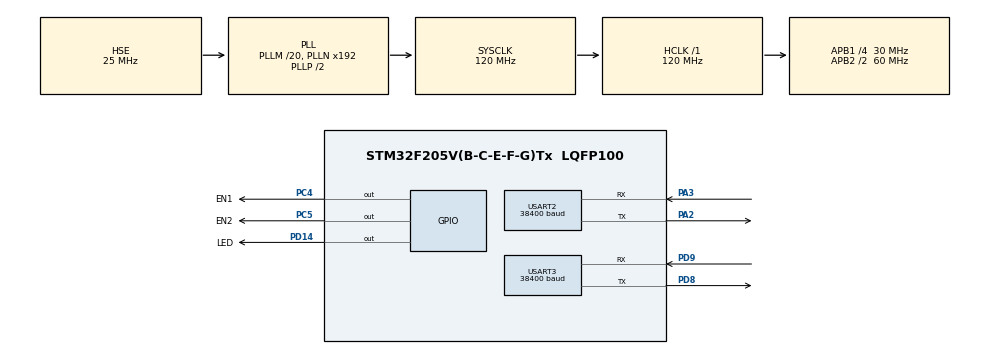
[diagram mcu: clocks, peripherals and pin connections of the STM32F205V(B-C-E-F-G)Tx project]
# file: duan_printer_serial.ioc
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Dma.Request0=USART2_RX
Dma.Request1=USART2_TX
Dma.Request2=USART3_RX
Dma.Request3=USART3_TX
Dma.USART2_RX.0.Direction=DMA_PERIPH_TO_MEMORY
Dma.USART2_RX.0.FIFOMode=DMA_FIFOMODE_DISABLE
Dma.USART2_RX.0.Instance=DMA1_Stream5
Dma.USART2_RX.0.MemDataAlignment=DMA_MDATAALIGN_BYTE
Dma.USART2_RX.0.MemInc=DMA_MINC_ENABLE
Dma.USART2_RX.0.Mode=DMA_NORMAL
Dma.USART2_RX.0.PeriphDataAlignment=DMA_PDATAALIGN_BYTE
Dma.USART2_RX.0.PeriphInc=DMA_PINC_DISABLE
Dma.USART2_RX.0.Priority=DMA_PRIORITY_LOW
Dma.USART2_TX.1.Direction=DMA_MEMORY_TO_PERIPH
Dma.USART2_TX.1.FIFOMode=DMA_FIFOMODE_DISABLE
Dma.USART2_TX.1.Instance=DMA1_Stream6
Dma.USART2_TX.1.MemDataAlignment=DMA_MDATAALIGN_BYTE
Dma.USART2_TX.1.MemInc=DMA_MINC_ENABLE
Dma.USART2_TX.1.Mode=DMA_NORMAL
Dma.USART2_TX.1.PeriphDataAlignment=DMA_PDATAALIGN_BYTE
Dma.USART2_TX.1.PeriphInc=DMA_PINC_DISABLE
Dma.USART2_TX.1.Priority=DMA_PRIORITY_LOW
Dma.USART3_RX.2.Direction=DMA_PERIPH_TO_MEMORY
Dma.USART3_RX.2.FIFOMode=DMA_FIFOMODE_DISABLE
Dma.USART3_RX.2.Instance=DMA1_Stream1
Dma.USART3_RX.2.MemDataAlignment=DMA_MDATAALIGN_BYTE
Dma.USART3_RX.2.MemInc=DMA_MINC_ENABLE
Dma.USART3_RX.2.Mode=DMA_NORMAL
Dma.USART3_RX.2.PeriphDataAlignment=DMA_PDATAALIGN_BYTE
Dma.USART3_RX.2.PeriphInc=DMA_PINC_DISABLE
Dma.USART3_RX.2.Priority=DMA_PRIORITY_LOW
Dma.USART3_TX.3.Direction=DMA_MEMORY_TO_PERIPH
Dma.USART3_TX.3.FIFOMode=DMA_FIFOMODE_DISABLE
Dma.USART3_TX.3.Instance=DMA1_Stream3
Dma.USART3_TX.3.MemDataAlignment=DMA_MDATAALIGN_BYTE
Dma.USART3_TX.3.MemInc=DMA_MINC_ENABLE
Dma.USART3_TX.3.Mode=DMA_NORMAL
Dma.USART3_TX.3.PeriphDataAlignment=DMA_PDATAALIGN_BYTE
Dma.USART3_TX.3.PeriphInc=DMA_PINC_DISABLE
Dma.USART3_TX.3.Priority=DMA_PRIORITY_LOW
Mcu.Family=STM32F2
Mcu.Name=STM32F205V(B-C-E-F-G)Tx
Mcu.Package=LQFP100
NVIC.DMA1_Stream1_IRQn=true\:0\:0\:false\:false\:true\:false\:true\:true
NVIC.DMA1_Stream3_IRQn=true\:0\:0\:false\:false\:true\:false\:true\:true
NVIC.DMA1_Stream5_IRQn=true\:0\:0\:false\:false\:true\:false\:true\:true
NVIC.DMA1_Stream6_IRQn=true\:0\:0\:false\:false\:true\:false\:true\:true
NVIC.PriorityGroup=NVIC_PRIORITYGROUP_4
NVIC.USART2_IRQn=true\:0\:0\:false\:false\:true\:true\:true\:true
NVIC.USART3_IRQn=true\:0\:0\:false\:false\:true\:true\:true\:true
PA13.Mode=Serial_Wire
PA13.Signal=SYS_JTMS-SWDIO
PA14.Mode=Serial_Wire
PA14.Signal=SYS_JTCK-SWCLK
PA2.Mode=Asynchronous
PA2.Signal=USART2_TX
PA3.Mode=Asynchronous
PA3.Signal=USART2_RX
PC4.GPIO_Label=EN1
PC4.GPIO_PuPd=GPIO_PULLDOWN
PC4.Signal=GPIO_Output
PC5.GPIO_Label=EN2
PC5.GPIO_PuPd=GPIO_PULLUP
PC5.Signal=GPIO_Output
PD14.GPIO_Label=LED
PD14.Signal=GPIO_Output
PD8.Mode=Asynchronous
PD8.Signal=USART3_TX
PD9.Mode=Asynchronous
PD9.Signal=USART3_RX
PH0-OSC_IN.Mode=HSE-External-Oscillator
PH0-OSC_IN.Signal=RCC_OSC_IN
PH1-OSC_OUT.Mode=HSE-External-Oscillator
PH1-OSC_OUT.Signal=RCC_OSC_OUT
ProjectManager.HeapSize=0x200
ProjectManager.StackSize=0x400
ProjectManager.TargetToolchain=STM32CubeIDE
RCC.48MHZClocksFreq_Value=60000000
RCC.AHBFreq_Value=120000000
RCC.APB1CLKDivider=RCC_HCLK_DIV4
RCC.APB1Freq_Value=30000000
RCC.APB1TimFreq_Value=60000000
RCC.APB2CLKDivider=RCC_HCLK_DIV2
RCC.APB2Freq_Value=60000000
RCC.APB2TimFreq_Value=120000000
RCC.CortexFreq_Value=120000000
RCC.HCLKFreq_Value=120000000
RCC.HSE_VALUE=25000000
RCC.HSI_VALUE=16000000
RCC.LSE_VALUE=32768
RCC.PLLM=20
RCC.PLLSourceVirtual=RCC_PLLSOURCE_HSE
RCC.SYSCLKFreq_VALUE=120000000
RCC.SYSCLKSource=RCC_SYSCLKSOURCE_PLLCLK
RCC.VCOOutputFreq_Value=240000000
USART2.BaudRate=38400
USART2.VirtualMode=VM_ASYNC
USART3.BaudRate=38400
USART3.VirtualMode=VM_ASYNC
board=custom

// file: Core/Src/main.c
/* USER CODE BEGIN Header */
/**
  ******************************************************************************
  * @file           : main.c
  * @brief          : Main program body
  ******************************************************************************
  * @attention
  *
  * Copyright (c) 2024 STMicroelectronics.
  * All rights reserved.
  *
  * This software is licensed under terms that can be found in the LICENSE file
  * in the root directory of this software component.
  * If no LICENSE file comes with this software, it is provided AS-IS.
  *
  ******************************************************************************
  */
/* USER CODE END Header */
#include "main.h"

/* USER CODE BEGIN Includes */
#include "stdio.h"
#include "string.h"
#include "stdbool.h"
/* USER CODE END Includes */

UART_HandleTypeDef huart2;
UART_HandleTypeDef huart3;
DMA_HandleTypeDef hdma_usart2_rx;
DMA_HandleTypeDef hdma_usart2_tx;
DMA_HandleTypeDef hdma_usart3_rx;
DMA_HandleTypeDef hdma_usart3_tx;

void SystemClock_Config(void);
static void MX_GPIO_Init(void);
static void MX_DMA_Init(void);
static void MX_USART2_UART_Init(void);
static void MX_USART3_UART_Init(void);

/* USER CODE BEGIN 0 */
#define BUFFER_SIZE 4096
typedef struct{
	uint8_t ui8_rx2Data[BUFFER_SIZE];
	uint8_t ui8_rx3Data[BUFFER_SIZE];

	uint8_t ui8_tx2Data[BUFFER_SIZE];
	uint8_t ui8_tx3Data[BUFFER_SIZE];

	uint8_t ui8_indexUart2;
	uint8_t ui8_indexUart3;

	uint32_t ui32_timer;
	uint32_t ui32_startTick;
	uint32_t ui32_CountTX;

	int uart2_processingData;
	int uart3_processingData;
	int uart2_receivedData;
	int uart3_receivedData;

	uint16_t ui16_tx2Size;
	uint16_t ui16_tx3Size;

	uint16_t ui16_countIT2;
	uint16_t ui16_countIT3;

	uint16_t ui16_count2;
	uint16_t ui16_count3;

	uint16_t ui16_countTX2;
	uint16_t ui16_countTX3;

	uint16_t ui16_data2Size;
	uint16_t ui16_data3Size;

}xulyuart_typedef;

xulyuart_typedef xulyUart = {
		.ui8_indexUart2 = 0,
		.ui8_indexUart3 = 0,

		.uart2_processingData = 0,
		.uart2_receivedData = 0,
		.uart3_processingData = 0,
		.uart3_receivedData = 0,

		.ui32_CountTX = 0,

		.ui16_countIT2 = 0,
		.ui16_countIT3 = 0,

		.ui16_count2 = 0,
		.ui16_count3 = 0,

		.ui16_countTX2 = 0,
		.ui16_countTX3 = 0,

		.ui16_data2Size = 0,
		.ui16_data3Size = 0
};

void HAL_UARTEx_RxEventCallback(UART_HandleTypeDef *huart, uint16_t Size)
{
	if (huart->Instance == USART2)
	{
//		xulyUart.ui16_countIT2++;
		xulyUart.ui16_data2Size += Size;

		xulyUart.ui16_tx3Size = Size;

		if(xulyUart.ui16_tx3Size < 1024)
		{
			xulyUart.ui16_countIT2++;
		}
		memcpy(xulyUart.ui8_tx3Data, xulyUart.ui8_rx2Data, xulyUart.ui16_tx3Size);

		xulyUart.uart2_receivedData = 1;
//		xulyUart.ui8_indexUart2 = 1;

		HAL_UARTEx_ReceiveToIdle_IT(&huart2, xulyUart.ui8_rx2Data, BUFFER_SIZE);
//		PrintUart2Data(xulyUart.ui8_rx2Data, xulyUart.ui16_tx3Size);
	}
	if (huart->Instance == USART3)
	{
//		xulyUart.ui16_countIT3++;
		xulyUart.ui16_data3Size += Size;

		xulyUart.ui16_tx2Size = Size;

		if(xulyUart.ui16_tx2Size < 1024)
		{
			xulyUart.ui16_countIT3++;
		}

		memcpy(xulyUart.ui8_tx2Data, xulyUart.ui8_rx3Data, xulyUart.ui16_tx2Size);
		xulyUart.uart3_receivedData = 1;
//		xulyUart.ui8_indexUart3 = 1;
		HAL_UARTEx_ReceiveToIdle_IT(&huart3, xulyUart.ui8_rx3Data, BUFFER_SIZE);
//		PrintUart3Data(xulyUart.ui8_rx3Data, xulyUart.ui16_tx2Size);
	}
}

void HAL_UART_TxCpltCallback(UART_HandleTypeDef *huart)
{
	if (huart->Instance == USART2)
	{
		xulyUart.ui16_countTX2++;
		xulyUart.uart2_processingData = 0;
	}
	if (huart->Instance == USART3)
	{
		xulyUart.ui16_countTX3++;
		xulyUart.uart3_processingData = 0;
	}
}
/* USER CODE END 0 */

int main(void)
{

  /* MCU Configuration--------------------------------------------------------*/

  /* Reset of all peripherals, Initializes the Flash interface and the Systick. */
  HAL_Init();

  /* Configure the system clock */
  SystemClock_Config();

  /* Initialize all configured peripherals */
  MX_GPIO_Init();
  MX_DMA_Init();
  MX_USART2_UART_Init();
  MX_USART3_UART_Init();
  /* USER CODE BEGIN 2 */
  HAL_GPIO_WritePin(GPIOC, EN1_Pin, 1);//1
  HAL_GPIO_WritePin(GPIOC, EN2_Pin, 0);//0

  char str[]="\nSTM205VGT6 hello";
//  HAL_UART_Transmit(&huart1, (uint8_t *)str, sizeof(str), 100);
//  HAL_UART_Transmit(&huart2, (uint8_t *)str, sizeof(str), 100);
//  HAL_UART_Transmit(&huart3, (uint8_t *)str, sizeof(str), 100);

  HAL_UARTEx_ReceiveToIdle_IT(&huart2, xulyUart.ui8_rx2Data, BUFFER_SIZE);
  HAL_UARTEx_ReceiveToIdle_IT(&huart3, xulyUart.ui8_rx3Data, BUFFER_SIZE);

  /* USER CODE END 2 */

  /* Infinite loop */
  while (1)
  {

    /* USER CODE BEGIN 3 */
		if(xulyUart.ui32_timer<HAL_GetTick())
		{
			xulyUart.ui32_timer=HAL_GetTick()+1000;
			char str3[]="\nSTM3205VGT6 3333";
			char str2[]="\nSTM3205VGT6 2222";
//			HAL_UART_Transmit(&huart2, (uint8_t *) str2,sizeof(str2) , 10);
//			HAL_UART_Transmit(&huart3, (uint8_t *) str3,sizeof(str3) , 10);

			HAL_GPIO_TogglePin(GPIOD, LED_Pin);
		}

		  if(xulyUart.uart3_receivedData == 1 && xulyUart.uart2_processingData == 0)
		  {
			  HAL_UART_Transmit_IT(&huart2, xulyUart.ui8_tx2Data, xulyUart.ui16_tx2Size);
			  xulyUart.uart2_processingData = 1;
			  xulyUart.uart3_receivedData = 0;
		  }
		  //nhan data tu uart 2 gui cho uart3
		  if(xulyUart.uart2_receivedData == 1 && xulyUart.uart3_processingData == 0)
		  {
			  HAL_UART_Transmit_IT(&huart3, xulyUart.ui8_tx3Data, xulyUart.ui16_tx3Size);
			  xulyUart.uart3_processingData = 1;
			  xulyUart.uart2_receivedData = 0;
		  }

  }
  /* USER CODE END 3 */
}

void SystemClock_Config(void)
{
  RCC_OscInitTypeDef RCC_OscInitStruct = {0};
  RCC_ClkInitTypeDef RCC_ClkInitStruct = {0};

  /** Initializes the RCC Oscillators according to the specified parameters
  * in the RCC_OscInitTypeDef structure.
  */
  RCC_OscInitStruct.OscillatorType = RCC_OSCILLATORTYPE_HSE;
  RCC_OscInitStruct.HSEState = RCC_HSE_ON;
  RCC_OscInitStruct.PLL.PLLState = RCC_PLL_ON;
  RCC_OscInitStruct.PLL.PLLSource = RCC_PLLSOURCE_HSE;
  RCC_OscInitStruct.PLL.PLLM = 20;
  RCC_OscInitStruct.PLL.PLLN = 192;
  RCC_OscInitStruct.PLL.PLLP = RCC_PLLP_DIV2;
  RCC_OscInitStruct.PLL.PLLQ = 4;
  if (HAL_RCC_OscConfig(&RCC_OscInitStruct) != HAL_OK)
  {
    Error_Handler();
  }

  /** Initializes the CPU, AHB and APB buses clocks
  */
  RCC_ClkInitStruct.ClockType = RCC_CLOCKTYPE_HCLK|RCC_CLOCKTYPE_SYSCLK
                              |RCC_CLOCKTYPE_PCLK1|RCC_CLOCKTYPE_PCLK2;
  RCC_ClkInitStruct.SYSCLKSource = RCC_SYSCLKSOURCE_PLLCLK;
  RCC_ClkInitStruct.AHBCLKDivider = RCC_SYSCLK_DIV1;
  RCC_ClkInitStruct.APB1CLKDivider = RCC_HCLK_DIV4;
  RCC_ClkInitStruct.APB2CLKDivider = RCC_HCLK_DIV2;

  if (HAL_RCC_ClockConfig(&RCC_ClkInitStruct, FLASH_LATENCY_3) != HAL_OK)
  {
    Error_Handler();
  }
}

static void MX_USART2_UART_Init(void)
{

  huart2.Instance = USART2;
  huart2.Init.BaudRate = 38400;
  huart2.Init.WordLength = UART_WORDLENGTH_8B;
  huart2.Init.StopBits = UART_STOPBITS_1;
  huart2.Init.Parity = UART_PARITY_NONE;
  huart2.Init.Mode = UART_MODE_TX_RX;
  huart2.Init.HwFlowCtl = UART_HWCONTROL_NONE;
  huart2.Init.OverSampling = UART_OVERSAMPLING_16;
  if (HAL_UART_Init(&huart2) != HAL_OK)
  {
    Error_Handler();
  }

}

static void MX_USART3_UART_Init(void)
{

  huart3.Instance = USART3;
  huart3.Init.BaudRate = 38400;
  huart3.Init.WordLength = UART_WORDLENGTH_8B;
  huart3.Init.StopBits = UART_STOPBITS_1;
  huart3.Init.Parity = UART_PARITY_NONE;
  huart3.Init.Mode = UART_MODE_TX_RX;
  huart3.Init.HwFlowCtl = UART_HWCONTROL_NONE;
  huart3.Init.OverSampling = UART_OVERSAMPLING_16;
  if (HAL_UART_Init(&huart3) != HAL_OK)
  {
    Error_Handler();
  }

}

static void MX_DMA_Init(void)
{

  /* DMA controller clock enable */
  __HAL_RCC_DMA1_CLK_ENABLE();

  /* DMA interrupt init */
  /* DMA1_Stream1_IRQn interrupt configuration */
  HAL_NVIC_SetPriority(DMA1_Stream1_IRQn, 0, 0);
  HAL_NVIC_EnableIRQ(DMA1_Stream1_IRQn);
  /* DMA1_Stream3_IRQn interrupt configuration */
  HAL_NVIC_SetPriority(DMA1_Stream3_IRQn, 0, 0);
  HAL_NVIC_EnableIRQ(DMA1_Stream3_IRQn);
  /* DMA1_Stream5_IRQn interrupt configuration */
  HAL_NVIC_SetPriority(DMA1_Stream5_IRQn, 0, 0);
  HAL_NVIC_EnableIRQ(DMA1_Stream5_IRQn);
  /* DMA1_Stream6_IRQn interrupt configuration */
  HAL_NVIC_SetPriority(DMA1_Stream6_IRQn, 0, 0);
  HAL_NVIC_EnableIRQ(DMA1_Stream6_IRQn);

}

static void MX_GPIO_Init(void)
{
  GPIO_InitTypeDef GPIO_InitStruct = {0};

  /* GPIO Ports Clock Enable */
  __HAL_RCC_GPIOH_CLK_ENABLE();
  __HAL_RCC_GPIOA_CLK_ENABLE();
  __HAL_RCC_GPIOC_CLK_ENABLE();
  __HAL_RCC_GPIOD_CLK_ENABLE();

  /*Configure GPIO pin Output Level */
  HAL_GPIO_WritePin(GPIOC, EN1_Pin|EN2_Pin, GPIO_PIN_RESET);

  /*Configure GPIO pin Output Level */
  HAL_GPIO_WritePin(LED_GPIO_Port, LED_Pin, GPIO_PIN_RESET);

  /*Configure GPIO pin : EN1_Pin */
  GPIO_InitStruct.Pin = EN1_Pin;
  GPIO_InitStruct.Mode = GPIO_MODE_OUTPUT_PP;
  GPIO_InitStruct.Pull = GPIO_PULLDOWN;
  GPIO_InitStruct.Speed = GPIO_SPEED_FREQ_LOW;
  HAL_GPIO_Init(EN1_GPIO_Port, &GPIO_InitStruct);

  /*Configure GPIO pin : EN2_Pin */
  GPIO_InitStruct.Pin = EN2_Pin;
  GPIO_InitStruct.Mode = GPIO_MODE_OUTPUT_PP;
  GPIO_InitStruct.Pull = GPIO_PULLUP;
  GPIO_InitStruct.Speed = GPIO_SPEED_FREQ_LOW;
  HAL_GPIO_Init(EN2_GPIO_Port, &GPIO_InitStruct);

  /*Configure GPIO pin : LED_Pin */
  GPIO_InitStruct.Pin = LED_Pin;
  GPIO_InitStruct.Mode = GPIO_MODE_OUTPUT_PP;
  GPIO_InitStruct.Pull = GPIO_NOPULL;
  GPIO_InitStruct.Speed = GPIO_SPEED_FREQ_LOW;
  HAL_GPIO_Init(LED_GPIO_Port, &GPIO_InitStruct);

}

void Error_Handler(void)
{
  __disable_irq();
  while (1)
  {
  }
}
